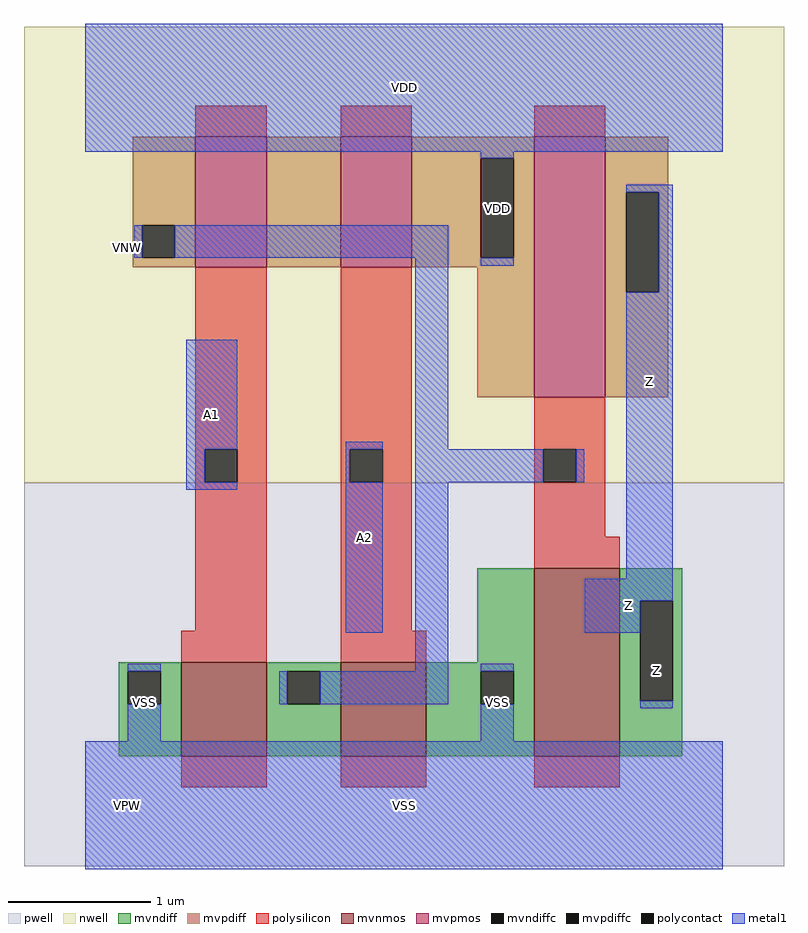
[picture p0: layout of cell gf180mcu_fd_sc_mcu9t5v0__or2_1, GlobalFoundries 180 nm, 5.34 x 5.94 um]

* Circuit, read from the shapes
.subckt gf180mcu_fd_sc_mcu9t5v0__or2_1 A1 A2 Z VDD VNW VPW VSS
XM1 n1 A1 VSS VPW nfet_06v0 w=0.66u l=0.6u
XM2 VSS A2 n1 VPW nfet_06v0 w=0.66u l=0.6u
XM3 Z n1 VSS VPW nfet_06v0 w=1.32u l=0.6u
XM4 n2 A1 n1 VNW pfet_06v0 w=0.915u l=0.5u
XM5 VDD A2 n2 VNW pfet_06v0 w=0.915u l=0.5u
XM6 Z n1 VDD VNW pfet_06v0 w=1.83u l=0.5u
.ends

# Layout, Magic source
magic
tech gf180mcuD
magscale 1 10
<< nwell >>
rect -86 453 982 1094
<< pwell >>
rect -86 -86 982 453
<< mvnmos >>
rect 135 69 255 201
rect 359 69 479 201
rect 631 69 751 333
<< mvpmos >>
rect 155 756 255 939
rect 359 756 459 939
rect 631 573 731 939
<< mvndiff >>
rect 551 201 631 333
rect 47 188 135 201
rect 47 142 60 188
rect 106 142 135 188
rect 47 69 135 142
rect 255 188 359 201
rect 255 142 284 188
rect 330 142 359 188
rect 255 69 359 142
rect 479 188 631 201
rect 479 142 556 188
rect 602 142 631 188
rect 479 69 631 142
rect 751 287 839 333
rect 751 147 780 287
rect 826 147 839 287
rect 751 69 839 147
<< mvpdiff >>
rect 67 815 155 939
rect 67 769 80 815
rect 126 769 155 815
rect 67 756 155 769
rect 255 756 359 939
rect 459 909 631 939
rect 459 769 556 909
rect 602 769 631 909
rect 459 756 631 769
rect 551 573 631 756
rect 731 861 819 939
rect 731 721 760 861
rect 806 721 819 861
rect 731 573 819 721
<< mvndiffc >>
rect 60 142 106 188
rect 284 142 330 188
rect 556 142 602 188
rect 780 147 826 287
<< mvpdiffc >>
rect 80 769 126 815
rect 556 769 602 909
rect 760 721 806 861
<< polysilicon >>
rect 155 939 255 983
rect 359 939 459 983
rect 631 939 731 983
rect 155 500 255 756
rect 155 454 168 500
rect 214 454 255 500
rect 155 245 255 454
rect 135 201 255 245
rect 359 500 459 756
rect 359 454 372 500
rect 418 454 459 500
rect 359 245 459 454
rect 631 500 731 573
rect 631 454 644 500
rect 690 454 731 500
rect 631 377 731 454
rect 631 333 751 377
rect 359 201 479 245
rect 135 25 255 69
rect 359 25 479 69
rect 631 25 751 69
<< polycontact >>
rect 168 454 214 500
rect 372 454 418 500
rect 644 454 690 500
<< metal1 >>
rect 0 918 896 1098
rect 556 909 602 918
rect 69 769 80 815
rect 126 769 510 815
rect 142 500 214 654
rect 142 454 168 500
rect 142 443 214 454
rect 366 500 418 511
rect 366 454 372 500
rect 366 242 418 454
rect 464 500 510 769
rect 556 758 602 769
rect 760 861 826 872
rect 806 721 826 861
rect 464 454 644 500
rect 690 454 701 500
rect 60 188 106 199
rect 464 188 510 454
rect 760 318 826 721
rect 702 287 826 318
rect 702 242 780 287
rect 273 142 284 188
rect 330 142 510 188
rect 556 188 602 199
rect 60 90 106 142
rect 556 90 602 142
rect 780 136 826 147
rect 0 -90 896 90
<< labels >>
flabel metal1 s 142 443 214 654 0 FreeSans 200 0 0 0 A1
port 1 nsew default input
flabel metal1 s 366 242 418 511 0 FreeSans 200 0 0 0 A2
port 2 nsew default input
flabel metal1 s 0 918 896 1098 0 FreeSans 200 0 0 0 VDD
port 4 nsew power bidirectional abutment
flabel metal1 s 556 90 602 199 0 FreeSans 200 0 0 0 VSS
port 7 nsew ground bidirectional abutment
flabel metal1 s 760 318 826 872 0 FreeSans 200 0 0 0 Z
port 3 nsew default output
flabel nwell s 10 734 110 834 0 FreeSans 400 0 0 0 VNW
port 5 nsew power bidirectional
flabel pwell s 10 -50 110 50 0 FreeSans 400 0 0 0 VPW
port 6 nsew ground bidirectional
rlabel metal1 s 702 242 826 318 1 Z
port 3 nsew default output
rlabel metal1 s 780 136 826 242 1 Z
port 3 nsew default output
rlabel metal1 s 556 758 602 918 1 VDD
port 4 nsew power bidirectional abutment
rlabel metal1 s 60 90 106 199 1 VSS
port 7 nsew ground bidirectional abutment
rlabel metal1 s 0 -90 896 90 1 VSS
port 7 nsew ground bidirectional abutment
<< properties >>
string FIXED_BBOX 0 0 896 1008
string GDS_END 266178
string GDS_FILE $PDKPATH/libs.ref/gf180mcu_fd_sc_mcu9t5v0/gds/gf180mcu_fd_sc_mcu9t5v0.gds
string GDS_START 263150
string LEFclass core
string LEFsite GF018hv5v_green_sc9
string LEFsymmetry X Y
<< end >>
